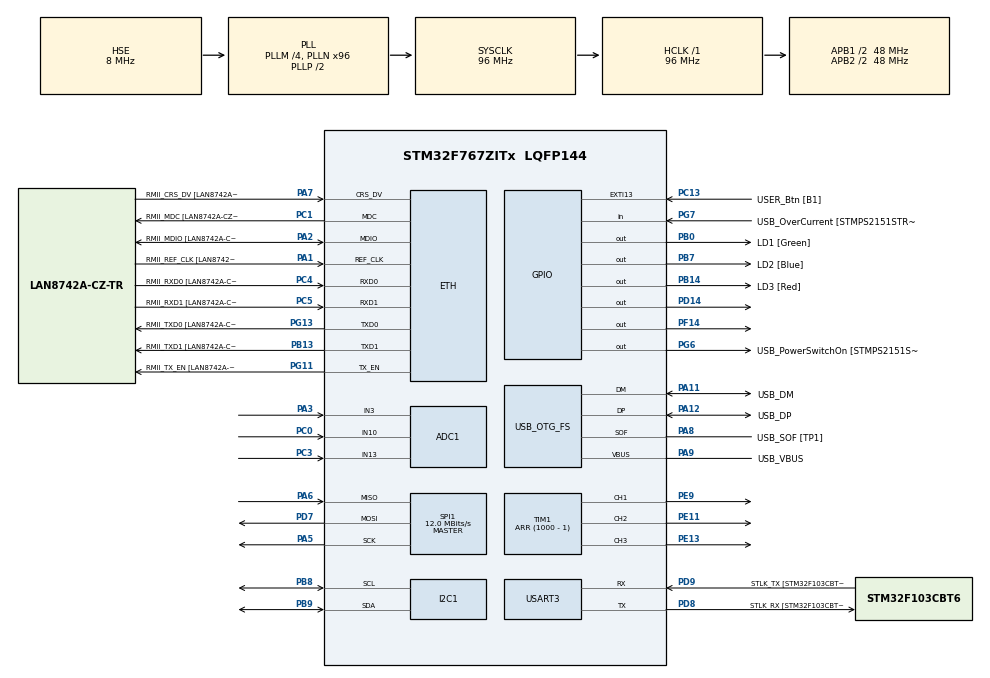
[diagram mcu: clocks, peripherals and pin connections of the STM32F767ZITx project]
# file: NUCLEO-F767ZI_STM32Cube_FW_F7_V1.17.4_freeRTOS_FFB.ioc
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ADC1.Channel-0\#ChannelRegularConversion=ADC_CHANNEL_3
ADC1.Channel-3\#ChannelRegularConversion=ADC_CHANNEL_10
ADC1.Channel-4\#ChannelRegularConversion=ADC_CHANNEL_13
ADC1.DiscontinuousConvMode=ENABLE
ADC1.NbrOfConversion=3
ADC1.NbrOfConversionFlag=1
ADC1.Rank-3\#ChannelRegularConversion=2
ADC1.Rank-4\#ChannelRegularConversion=3
ADC1.SamplingTime-0\#ChannelRegularConversion=ADC_SAMPLETIME_84CYCLES
ADC1.SamplingTime-3\#ChannelRegularConversion=ADC_SAMPLETIME_84CYCLES
ADC1.SamplingTime-4\#ChannelRegularConversion=ADC_SAMPLETIME_84CYCLES
ADC1.ScanConvMode=ADC_SCAN_ENABLE
ADC1.master=1
CORTEX_M7.default_mode_Activation=1
ETH.MediaInterface=HAL_ETH_RMII_MODE
ETH.PHY_Name=LAN8742A_PHY_ADDRESS
ETH.PHY_Value=0
ETH.PhyAddress=0
I2C1.Timing=0x20303E5D
Mcu.Family=STM32F7
Mcu.Name=STM32F767ZITx
Mcu.Package=LQFP144
NVIC.OTG_FS_IRQn=true\:5\:0\:true\:false\:true\:true\:true\:true
NVIC.PriorityGroup=NVIC_PRIORITYGROUP_4
NVIC.TIM2_IRQn=true\:6\:0\:true\:false\:true\:true\:true\:true
NVIC.TIM7_IRQn=true\:15\:0\:false\:false\:true\:false\:true\:true
NVIC.TimeBase=TIM7_IRQn
NVIC.TimeBaseIP=TIM7
NVIC.USART3_IRQn=true\:5\:0\:true\:false\:true\:true\:true\:true
PA1.GPIO_Label=RMII_REF_CLK [LAN8742A-CZ-TR_REFCLK0]
PA1.Mode=RMII
PA1.Signal=ETH_REF_CLK
PA10.GPIO_Label=USB_ID
PA10.Signal=USB_OTG_FS_ID
PA11.GPIO_Label=USB_DM
PA11.Mode=Device_Only
PA11.Signal=USB_OTG_FS_DM
PA12.GPIO_Label=USB_DP
PA12.Mode=Device_Only
PA12.Signal=USB_OTG_FS_DP
PA13.GPIO_Label=TMS
PA13.Mode=Serial_Wire
PA13.Signal=SYS_JTMS-SWDIO
PA14.GPIO_Label=TCK
PA14.Mode=Serial_Wire
PA14.Signal=SYS_JTCK-SWCLK
PA2.GPIO_Label=RMII_MDIO [LAN8742A-CZ-TR_MDIO]
PA2.Mode=RMII
PA2.Signal=ETH_MDIO
PA3.Signal=ADCx_IN3
PA5.Mode=Full_Duplex_Master
PA5.Signal=SPI1_SCK
PA6.Mode=Full_Duplex_Master
PA6.Signal=SPI1_MISO
PA7.GPIO_Label=RMII_CRS_DV [LAN8742A-CZ-TR_CRS_DV]
PA7.Mode=RMII
PA7.Signal=ETH_CRS_DV
PA8.GPIO_Label=USB_SOF [TP1]
PA8.Mode=Activate_SOF_FS
PA8.Signal=USB_OTG_FS_SOF
PA9.GPIO_Label=USB_VBUS
PA9.Mode=Activate_VBUS
PA9.Signal=USB_OTG_FS_VBUS
PB0.GPIO_Label=LD1 [Green]
PB0.Signal=GPIO_Output
PB13.GPIO_Label=RMII_TXD1 [LAN8742A-CZ-TR_TXD1]
PB13.Mode=RMII
PB13.Signal=ETH_TXD1
PB14.GPIO_Label=LD3 [Red]
PB14.Signal=GPIO_Output
PB3.GPIO_Label=SWO
PB3.Signal=SYS_JTDO-SWO
PB7.GPIO_Label=LD2 [Blue]
PB7.Signal=GPIO_Output
PB8.Mode=I2C
PB8.Signal=I2C1_SCL
PB9.Mode=I2C
PB9.Signal=I2C1_SDA
PC0.Signal=ADCx_IN10
PC1.GPIO_Label=RMII_MDC [LAN8742A-CZ-TR_MDC]
PC1.Mode=RMII
PC1.Signal=ETH_MDC
PC13.GPIO_Label=USER_Btn [B1]
PC13.Signal=GPXTI13
PC14/OSC32_IN.Mode=LSE-External-Oscillator
PC14/OSC32_IN.Signal=RCC_OSC32_IN
PC15/OSC32_OUT.Mode=LSE-External-Oscillator
PC15/OSC32_OUT.Signal=RCC_OSC32_OUT
PC3.Signal=ADCx_IN13
PC4.GPIO_Label=RMII_RXD0 [LAN8742A-CZ-TR_RXD0]
PC4.Mode=RMII
PC4.Signal=ETH_RXD0
PC5.GPIO_Label=RMII_RXD1 [LAN8742A-CZ-TR_RXD1]
PC5.Mode=RMII
PC5.Signal=ETH_RXD1
PD14.Signal=GPIO_Output
PD7.Mode=Full_Duplex_Master
PD7.Signal=SPI1_MOSI
PD8.GPIO_Label=STLK_RX [STM32F103CBT6_PA3]
PD8.Mode=Asynchronous
PD8.Signal=USART3_TX
PD9.GPIO_Label=STLK_TX [STM32F103CBT6_PA2]
PD9.Mode=Asynchronous
PD9.Signal=USART3_RX
PE11.Signal=S_TIM1_CH2
PE13.Signal=S_TIM1_CH3
PE9.Signal=S_TIM1_CH1
PF14.Signal=GPIO_Output
PG11.GPIO_Label=RMII_TX_EN [LAN8742A-CZ-TR_TXEN]
PG11.Mode=RMII
PG11.Signal=ETH_TX_EN
PG13.GPIO_Label=RMII_TXD0 [LAN8742A-CZ-TR_TXD0]
PG13.Mode=RMII
PG13.Signal=ETH_TXD0
PG6.GPIO_Label=USB_PowerSwitchOn [STMPS2151STR_EN]
PG6.Signal=GPIO_Output
PG7.GPIO_Label=USB_OverCurrent [STMPS2151STR_FAULT]
PG7.Signal=GPIO_Input
PH0/OSC_IN.GPIO_Label=MCO [STM32F103CBT6_PA8]
PH0/OSC_IN.Mode=HSE-External-Oscillator
PH0/OSC_IN.Signal=RCC_OSC_IN
PH1/OSC_OUT.Mode=HSE-External-Oscillator
PH1/OSC_OUT.Signal=RCC_OSC_OUT
ProjectManager.HeapSize=0x200
ProjectManager.StackSize=0x400
ProjectManager.TargetToolchain=CMake
RCC.48MHZClocksFreq_Value=24000000
RCC.AHBFreq_Value=96000000
RCC.APB1CLKDivider=RCC_HCLK_DIV2
RCC.APB1Freq_Value=48000000
RCC.APB1TimFreq_Value=96000000
RCC.APB2CLKDivider=RCC_HCLK_DIV2
RCC.APB2Freq_Value=48000000
RCC.APB2TimFreq_Value=96000000
RCC.CortexFreq_Value=96000000
RCC.HCLKFreq_Value=96000000
RCC.HSE_VALUE=8000000
RCC.HSI_VALUE=16000000
RCC.PLLI2SN=96
RCC.PLLM=4
RCC.PLLMUL=RCC_PLL_MUL9
RCC.PLLN=96
RCC.PLLQ=4
RCC.PLLSAIN=96
RCC.PRESCALERUSB=RCC_USBCLKSOURCE_PLL_DIV1_5
RCC.SYSCLKFreq_VALUE=96000000
RCC.SYSCLKSource=RCC_SYSCLKSOURCE_PLLCLK
RCC.SYSCLKSourceVirtual=RCC_SYSCLKSOURCE_PLLCLK
RCC.USBFreq_Value=48000000
RCC.VCOOutputFreq_Value=192000000
SH.ADCx_IN10.0=ADC1_IN10,IN10
SH.ADCx_IN13.0=ADC1_IN13,IN13
SH.ADCx_IN3.0=ADC1_IN3,IN3
SH.S_TIM1_CH1.0=TIM1_CH1,PWM Generation1 CH1
SH.S_TIM1_CH2.0=TIM1_CH2,PWM Generation2 CH2
SH.S_TIM1_CH3.0=TIM1_CH3,PWM Generation3 CH3
SPI1.BaudRatePrescaler=SPI_BAUDRATEPRESCALER_4
SPI1.CLKPhase=SPI_PHASE_2EDGE
SPI1.CalculateBaudRate=12.0 MBits/s
SPI1.DataSize=SPI_DATASIZE_8BIT
SPI1.Direction=SPI_DIRECTION_2LINES
SPI1.Mode=SPI_MODE_MASTER
SPI1.VirtualType=VM_MASTER
TIM1.AutoReloadPreload=TIM_AUTORELOAD_PRELOAD_ENABLE
TIM1.Channel-PWM\ Generation1\ CH1=TIM_CHANNEL_1
TIM1.Channel-PWM\ Generation2\ CH2=TIM_CHANNEL_2
TIM1.Channel-PWM\ Generation3\ CH3=TIM_CHANNEL_3
TIM1.CounterMode=TIM_COUNTERMODE_CENTERALIGNED3
TIM1.Period=(1000 - 1)
TIM1.Prescaler=(96000000 / 40000 / 1000 - 1)
TIM2.AutoReloadPreload=TIM_AUTORELOAD_PRELOAD_ENABLE
TIM2.Period=(FOC_LOOP_PERIOD - 1)
TIM2.Prescaler=(96000000 / 1000 / 1000 - 1)
USART3.VirtualMode-Asynchronous=VM_ASYNC
USB_OTG_FS.VirtualMode=Device_Only
VP_SYS_VS_tim7.Mode=TIM7
VP_TIM2_VS_ClockSourceINT.Mode=Internal
board=NUCLEO-F767ZI

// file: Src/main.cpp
/* USER CODE BEGIN Header */
/* USER CODE END Header */
#include "main.h"

#include "string.h"

/* USER CODE BEGIN Includes */
#include "Arduino.h"
#include "FreeRTOS.h"
#include "arduino_interface.h"
#include "task.h"
// FFB
#include "adc_loop.h"
#include "adc_setup.h"
#include "ffb_loop.h"
#include "ffb_setup.h"
#include "foc_loop.h"
#include "foc_setup.h"
#include "tusb.h"
#include "usb_loop.h"
#include "usb_setup.h"
/* USER CODE END Includes */

/* USER CODE BEGIN PTD */
// Priorities of our threads - higher numbers are higher priority
#define MAIN_TASK_PRIORITY (tskIDLE_PRIORITY + osPriorityBelowNormal)
#define BLINK_TASK_PRIORITY (tskIDLE_PRIORITY + osPriorityLow)
#define WORKER_TASK_PRIORITY (tskIDLE_PRIORITY + osPriorityNormal)
// Stack sizes of our threads in words (4 bytes)
#define MAIN_TASK_STACK_SIZE configMINIMAL_STACK_SIZE
#define BLINK_TASK_STACK_SIZE configMINIMAL_STACK_SIZE
#define WORKER_TASK_STACK_SIZE configMINIMAL_STACK_SIZE
/* USER CODE END PTD */

#if defined(__ICCARM__) /*!< IAR Compiler */
#pragma location = 0x2007c000
ETH_DMADescTypeDef DMARxDscrTab[ETH_RX_DESC_CNT]; /* Ethernet Rx DMA Descriptors */
#pragma location = 0x2007c0a0
ETH_DMADescTypeDef DMATxDscrTab[ETH_TX_DESC_CNT]; /* Ethernet Tx DMA Descriptors */

#elif defined(__CC_ARM) /* MDK ARM Compiler */

__attribute__((at(0x2007c000))) ETH_DMADescTypeDef DMARxDscrTab[ETH_RX_DESC_CNT]; /* Ethernet Rx DMA Descriptors */
__attribute__((at(0x2007c0a0))) ETH_DMADescTypeDef DMATxDscrTab[ETH_TX_DESC_CNT]; /* Ethernet Tx DMA Descriptors */

#elif defined(__GNUC__) /* GNU Compiler */

ETH_DMADescTypeDef DMARxDscrTab[ETH_RX_DESC_CNT] __attribute__((section(".RxDecripSection"))); /* Ethernet Rx DMA Descriptors */
ETH_DMADescTypeDef DMATxDscrTab[ETH_TX_DESC_CNT] __attribute__((section(".TxDecripSection"))); /* Ethernet Tx DMA Descriptors */
#endif

ETH_TxPacketConfig TxConfig;

ADC_HandleTypeDef hadc1;

ETH_HandleTypeDef heth;

I2C_HandleTypeDef hi2c1;

SPI_HandleTypeDef hspi1;

TIM_HandleTypeDef htim1;
TIM_HandleTypeDef htim2;

UART_HandleTypeDef huart3;

PCD_HandleTypeDef hpcd_USB_OTG_FS;

void SystemClock_Config(void);
static void MPU_Config(void);
static void MX_GPIO_Init(void);
static void MX_ETH_Init(void);
static void MX_I2C1_Init(void);
static void MX_SPI1_Init(void);
static void MX_TIM1_Init(void);
static void MX_USART3_UART_Init(void);
static void MX_USB_OTG_FS_PCD_Init(void);
static void MX_TIM2_Init(void);
static void MX_ADC1_Init(void);

/* USER CODE BEGIN 0 */
void blink_task(__unused void *params) {
    for (;;) {
        vTaskDelay(pdMS_TO_TICKS(blink_interval_ms_usb_status));
        HAL_GPIO_TogglePin(GPIOB, LD1_Pin);
    }
}
TaskHandle_t foc_task_handle = NULL;
void repeating_timer_callback(void) {
    BaseType_t xHigherPriorityTaskWoken = pdFALSE;
    vTaskNotifyGiveFromISR(foc_task_handle, &xHigherPriorityTaskWoken);
    portYIELD_FROM_ISR(xHigherPriorityTaskWoken);
}
void foc_task(__unused void *params) {
    foc_setup();
    for (;;) {
        ulTaskNotifyTake(pdTRUE, portMAX_DELAY);
        foc_loop();
    }
}
void usb_task(__unused void *params) {
    usb_setup();
    for (;;) {
        // put this thread to waiting state until there is new events
        tud_task();
        // following code only run if tud_task() process at least 1 event
        usb_loop();
    }
}
void ffb_task(__unused void *params) {
    TickType_t last = xTaskGetTickCount();
    for (;;) {
        vTaskDelayUntil(&last, pdMS_TO_TICKS(USB_POLLING_INTERVAL));
    }
}
extern "C" size_t board_get_unique_id(uint8_t id[], size_t max_len) {
    (void)max_len;
    volatile uint32_t *stm32_uuid = (volatile uint32_t *)UID_BASE;
    uint32_t *id32 = (uint32_t *)(uintptr_t)id;
    const uint8_t len = 12;
    id32[0] = stm32_uuid[0];
    id32[1] = stm32_uuid[1];
    id32[2] = stm32_uuid[2];
    return len;
}
void adc_task(__unused void *params) {
    adc_setup();
    TickType_t last = xTaskGetTickCount();
    for (;;) {
        vTaskDelayUntil(&last, pdMS_TO_TICKS(ADC_READ_INTERVAL));
        adc_loop();
    }
}
/* USER CODE END 0 */

int main(void) {

    /* MPU Configuration--------------------------------------------------------*/
    MPU_Config();

    /* MCU Configuration--------------------------------------------------------*/

    /* Reset of all peripherals, Initializes the Flash interface and the Systick. */
    HAL_Init();

    /* Configure the system clock */
    SystemClock_Config();

    /* Initialize all configured peripherals */
    MX_GPIO_Init();
    MX_ETH_Init();
    MX_I2C1_Init();
    MX_SPI1_Init();
    MX_TIM1_Init();
    MX_USART3_UART_Init();
    MX_USB_OTG_FS_PCD_Init();
    MX_TIM2_Init();
    MX_ADC1_Init();
    /* USER CODE BEGIN 2 */
    arduino_serial_init(&huart3);
    arduino_spi_init(&hspi1);
    arduino_tim_init(&htim1, TIM_CHANNEL_1, TIM_CHANNEL_2, TIM_CHANNEL_3);
    arduino_hi2c_init(&hi2c1);
    arduino_hadc_init(&hadc1);
    /* USER CODE END 2 */

    /* Infinite loop */
    /* USER CODE BEGIN WHILE */
    xTaskCreate(blink_task, "blink_task", BLINK_TASK_STACK_SIZE, NULL, BLINK_TASK_PRIORITY, NULL);
    xTaskCreate(foc_task, "foc_task", WORKER_TASK_STACK_SIZE, NULL, WORKER_TASK_PRIORITY, &foc_task_handle);
    xTaskCreate(usb_task, "usb_task", WORKER_TASK_STACK_SIZE, NULL, WORKER_TASK_PRIORITY, NULL);
    xTaskCreate(ffb_task, "ffb_task", WORKER_TASK_STACK_SIZE, NULL, WORKER_TASK_PRIORITY, NULL);
    xTaskCreate(adc_task, "adc_task", WORKER_TASK_STACK_SIZE, NULL, WORKER_TASK_PRIORITY, NULL);
    HAL_TIM_Base_Start_IT(&htim2);
    vTaskStartScheduler();
    while (1) {
        /* USER CODE END WHILE */

    }
}

void SystemClock_Config(void) {
    RCC_OscInitTypeDef RCC_OscInitStruct = {0};
    RCC_ClkInitTypeDef RCC_ClkInitStruct = {0};

    /** Configure LSE Drive Capability
     */
    HAL_PWR_EnableBkUpAccess();

    /** Configure the main internal regulator output voltage
     */
    __HAL_RCC_PWR_CLK_ENABLE();
    __HAL_PWR_VOLTAGESCALING_CONFIG(PWR_REGULATOR_VOLTAGE_SCALE3);

    /** Initializes the RCC Oscillators according to the specified parameters
     * in the RCC_OscInitTypeDef structure.
     */
    RCC_OscInitStruct.OscillatorType = RCC_OSCILLATORTYPE_HSE;
    RCC_OscInitStruct.HSEState = RCC_HSE_ON;
    RCC_OscInitStruct.PLL.PLLState = RCC_PLL_ON;
    RCC_OscInitStruct.PLL.PLLSource = RCC_PLLSOURCE_HSE;
    RCC_OscInitStruct.PLL.PLLM = 4;
    RCC_OscInitStruct.PLL.PLLN = 96;
    RCC_OscInitStruct.PLL.PLLP = RCC_PLLP_DIV2;
    RCC_OscInitStruct.PLL.PLLQ = 4;
    RCC_OscInitStruct.PLL.PLLR = 2;
    if (HAL_RCC_OscConfig(&RCC_OscInitStruct) != HAL_OK) {
        Error_Handler();
    }

    /** Activate the Over-Drive mode
     */
    if (HAL_PWREx_EnableOverDrive() != HAL_OK) {
        Error_Handler();
    }

    /** Initializes the CPU, AHB and APB buses clocks
     */
    RCC_ClkInitStruct.ClockType = RCC_CLOCKTYPE_HCLK | RCC_CLOCKTYPE_SYSCLK | RCC_CLOCKTYPE_PCLK1 | RCC_CLOCKTYPE_PCLK2;
    RCC_ClkInitStruct.SYSCLKSource = RCC_SYSCLKSOURCE_PLLCLK;
    RCC_ClkInitStruct.AHBCLKDivider = RCC_SYSCLK_DIV1;
    RCC_ClkInitStruct.APB1CLKDivider = RCC_HCLK_DIV2;
    RCC_ClkInitStruct.APB2CLKDivider = RCC_HCLK_DIV2;

    if (HAL_RCC_ClockConfig(&RCC_ClkInitStruct, FLASH_LATENCY_3) != HAL_OK) {
        Error_Handler();
    }
}

static void MX_ADC1_Init(void) {

    ADC_ChannelConfTypeDef sConfig = {0};

    /** Configure the global features of the ADC (Clock, Resolution, Data Alignment and number of conversion)
     */
    hadc1.Instance = ADC1;
    hadc1.Init.ClockPrescaler = ADC_CLOCK_SYNC_PCLK_DIV2;
    hadc1.Init.Resolution = ADC_RESOLUTION_12B;
    hadc1.Init.ScanConvMode = ADC_SCAN_ENABLE;
    hadc1.Init.ContinuousConvMode = DISABLE;
    hadc1.Init.DiscontinuousConvMode = ENABLE;
    hadc1.Init.NbrOfDiscConversion = 1;
    hadc1.Init.ExternalTrigConvEdge = ADC_EXTERNALTRIGCONVEDGE_NONE;
    hadc1.Init.ExternalTrigConv = ADC_SOFTWARE_START;
    hadc1.Init.DataAlign = ADC_DATAALIGN_RIGHT;
    hadc1.Init.NbrOfConversion = 3;
    hadc1.Init.DMAContinuousRequests = DISABLE;
    hadc1.Init.EOCSelection = ADC_EOC_SINGLE_CONV;
    if (HAL_ADC_Init(&hadc1) != HAL_OK) {
        Error_Handler();
    }

    /** Configure for the selected ADC regular channel its corresponding rank in the sequencer and its sample time.
     */
    sConfig.Channel = ADC_CHANNEL_3;
    sConfig.Rank = ADC_REGULAR_RANK_1;
    sConfig.SamplingTime = ADC_SAMPLETIME_84CYCLES;
    if (HAL_ADC_ConfigChannel(&hadc1, &sConfig) != HAL_OK) {
        Error_Handler();
    }

    /** Configure for the selected ADC regular channel its corresponding rank in the sequencer and its sample time.
     */
    sConfig.Channel = ADC_CHANNEL_10;
    sConfig.Rank = ADC_REGULAR_RANK_2;
    if (HAL_ADC_ConfigChannel(&hadc1, &sConfig) != HAL_OK) {
        Error_Handler();
    }

    /** Configure for the selected ADC regular channel its corresponding rank in the sequencer and its sample time.
     */
    sConfig.Channel = ADC_CHANNEL_13;
    sConfig.Rank = ADC_REGULAR_RANK_3;
    if (HAL_ADC_ConfigChannel(&hadc1, &sConfig) != HAL_OK) {
        Error_Handler();
    }
}

static void MX_ETH_Init(void) {

    static uint8_t MACAddr[6];

    heth.Instance = ETH;
    MACAddr[0] = 0x00;
    MACAddr[1] = 0x80;
    MACAddr[2] = 0xE1;
    MACAddr[3] = 0x00;
    MACAddr[4] = 0x00;
    MACAddr[5] = 0x00;
    heth.Init.MACAddr = &MACAddr[0];
    heth.Init.MediaInterface = HAL_ETH_RMII_MODE;
    heth.Init.TxDesc = DMATxDscrTab;
    heth.Init.RxDesc = DMARxDscrTab;
    heth.Init.RxBuffLen = 1524;

    if (HAL_ETH_Init(&heth) != HAL_OK) {
        Error_Handler();
    }

    memset(&TxConfig, 0, sizeof(ETH_TxPacketConfig));
    TxConfig.Attributes = ETH_TX_PACKETS_FEATURES_CSUM | ETH_TX_PACKETS_FEATURES_CRCPAD;
    TxConfig.ChecksumCtrl = ETH_CHECKSUM_IPHDR_PAYLOAD_INSERT_PHDR_CALC;
    TxConfig.CRCPadCtrl = ETH_CRC_PAD_INSERT;
}

static void MX_I2C1_Init(void) {

    hi2c1.Instance = I2C1;
    hi2c1.Init.Timing = 0x20303E5D;
    hi2c1.Init.OwnAddress1 = 0;
    hi2c1.Init.AddressingMode = I2C_ADDRESSINGMODE_7BIT;
    hi2c1.Init.DualAddressMode = I2C_DUALADDRESS_DISABLE;
    hi2c1.Init.OwnAddress2 = 0;
    hi2c1.Init.OwnAddress2Masks = I2C_OA2_NOMASK;
    hi2c1.Init.GeneralCallMode = I2C_GENERALCALL_DISABLE;
    hi2c1.Init.NoStretchMode = I2C_NOSTRETCH_DISABLE;
    if (HAL_I2C_Init(&hi2c1) != HAL_OK) {
        Error_Handler();
    }

    /** Configure Analogue filter
     */
    if (HAL_I2CEx_ConfigAnalogFilter(&hi2c1, I2C_ANALOGFILTER_ENABLE) != HAL_OK) {
        Error_Handler();
    }

    /** Configure Digital filter
     */
    if (HAL_I2CEx_ConfigDigitalFilter(&hi2c1, 0) != HAL_OK) {
        Error_Handler();
    }
}

static void MX_SPI1_Init(void) {

    /* SPI1 parameter configuration*/
    hspi1.Instance = SPI1;
    hspi1.Init.Mode = SPI_MODE_MASTER;
    hspi1.Init.Direction = SPI_DIRECTION_2LINES;
    hspi1.Init.DataSize = SPI_DATASIZE_8BIT;
    hspi1.Init.CLKPolarity = SPI_POLARITY_LOW;
    hspi1.Init.CLKPhase = SPI_PHASE_2EDGE;
    hspi1.Init.NSS = SPI_NSS_SOFT;
    hspi1.Init.BaudRatePrescaler = SPI_BAUDRATEPRESCALER_4;
    hspi1.Init.FirstBit = SPI_FIRSTBIT_MSB;
    hspi1.Init.TIMode = SPI_TIMODE_DISABLE;
    hspi1.Init.CRCCalculation = SPI_CRCCALCULATION_DISABLE;
    hspi1.Init.CRCPolynomial = 7;
    hspi1.Init.CRCLength = SPI_CRC_LENGTH_DATASIZE;
    hspi1.Init.NSSPMode = SPI_NSS_PULSE_DISABLE;
    if (HAL_SPI_Init(&hspi1) != HAL_OK) {
        Error_Handler();
    }
}

static void MX_TIM1_Init(void) {

    TIM_MasterConfigTypeDef sMasterConfig = {0};
    TIM_OC_InitTypeDef sConfigOC = {0};
    TIM_BreakDeadTimeConfigTypeDef sBreakDeadTimeConfig = {0};

    htim1.Instance = TIM1;
    htim1.Init.Prescaler = (96000000 / 40000 / 1000 - 1);
    htim1.Init.CounterMode = TIM_COUNTERMODE_CENTERALIGNED3;
    htim1.Init.Period = (1000 - 1);
    htim1.Init.ClockDivision = TIM_CLOCKDIVISION_DIV1;
    htim1.Init.RepetitionCounter = 0;
    htim1.Init.AutoReloadPreload = TIM_AUTORELOAD_PRELOAD_ENABLE;
    if (HAL_TIM_PWM_Init(&htim1) != HAL_OK) {
        Error_Handler();
    }
    sMasterConfig.MasterOutputTrigger = TIM_TRGO_RESET;
    sMasterConfig.MasterOutputTrigger2 = TIM_TRGO2_RESET;
    sMasterConfig.MasterSlaveMode = TIM_MASTERSLAVEMODE_DISABLE;
    if (HAL_TIMEx_MasterConfigSynchronization(&htim1, &sMasterConfig) != HAL_OK) {
        Error_Handler();
    }
    sConfigOC.OCMode = TIM_OCMODE_PWM1;
    sConfigOC.Pulse = 0;
    sConfigOC.OCPolarity = TIM_OCPOLARITY_HIGH;
    sConfigOC.OCNPolarity = TIM_OCNPOLARITY_HIGH;
    sConfigOC.OCFastMode = TIM_OCFAST_DISABLE;
    sConfigOC.OCIdleState = TIM_OCIDLESTATE_RESET;
    sConfigOC.OCNIdleState = TIM_OCNIDLESTATE_RESET;
    if (HAL_TIM_PWM_ConfigChannel(&htim1, &sConfigOC, TIM_CHANNEL_1) != HAL_OK) {
        Error_Handler();
    }
    if (HAL_TIM_PWM_ConfigChannel(&htim1, &sConfigOC, TIM_CHANNEL_2) != HAL_OK) {
        Error_Handler();
    }
    if (HAL_TIM_PWM_ConfigChannel(&htim1, &sConfigOC, TIM_CHANNEL_3) != HAL_OK) {
        Error_Handler();
    }
    sBreakDeadTimeConfig.OffStateRunMode = TIM_OSSR_DISABLE;
    sBreakDeadTimeConfig.OffStateIDLEMode = TIM_OSSI_DISABLE;
    sBreakDeadTimeConfig.LockLevel = TIM_LOCKLEVEL_OFF;
    sBreakDeadTimeConfig.DeadTime = 0;
    sBreakDeadTimeConfig.BreakState = TIM_BREAK_DISABLE;
    sBreakDeadTimeConfig.BreakPolarity = TIM_BREAKPOLARITY_HIGH;
    sBreakDeadTimeConfig.BreakFilter = 0;
    sBreakDeadTimeConfig.Break2State = TIM_BREAK2_DISABLE;
    sBreakDeadTimeConfig.Break2Polarity = TIM_BREAK2POLARITY_HIGH;
    sBreakDeadTimeConfig.Break2Filter = 0;
    sBreakDeadTimeConfig.AutomaticOutput = TIM_AUTOMATICOUTPUT_DISABLE;
    if (HAL_TIMEx_ConfigBreakDeadTime(&htim1, &sBreakDeadTimeConfig) != HAL_OK) {
        Error_Handler();
    }
    HAL_TIM_MspPostInit(&htim1);
}

static void MX_TIM2_Init(void) {

    TIM_ClockConfigTypeDef sClockSourceConfig = {0};
    TIM_MasterConfigTypeDef sMasterConfig = {0};

    htim2.Instance = TIM2;
    htim2.Init.Prescaler = (96000000 / 1000 / 1000 - 1);
    htim2.Init.CounterMode = TIM_COUNTERMODE_UP;
    htim2.Init.Period = (FOC_LOOP_PERIOD - 1);
    htim2.Init.ClockDivision = TIM_CLOCKDIVISION_DIV1;
    htim2.Init.AutoReloadPreload = TIM_AUTORELOAD_PRELOAD_ENABLE;
    if (HAL_TIM_Base_Init(&htim2) != HAL_OK) {
        Error_Handler();
    }
    sClockSourceConfig.ClockSource = TIM_CLOCKSOURCE_INTERNAL;
    if (HAL_TIM_ConfigClockSource(&htim2, &sClockSourceConfig) != HAL_OK) {
        Error_Handler();
    }
    sMasterConfig.MasterOutputTrigger = TIM_TRGO_RESET;
    sMasterConfig.MasterSlaveMode = TIM_MASTERSLAVEMODE_DISABLE;
    if (HAL_TIMEx_MasterConfigSynchronization(&htim2, &sMasterConfig) != HAL_OK) {
        Error_Handler();
    }
}

static void MX_USART3_UART_Init(void) {

    huart3.Instance = USART3;
    huart3.Init.BaudRate = 115200;
    huart3.Init.WordLength = UART_WORDLENGTH_8B;
    huart3.Init.StopBits = UART_STOPBITS_1;
    huart3.Init.Parity = UART_PARITY_NONE;
    huart3.Init.Mode = UART_MODE_TX_RX;
    huart3.Init.HwFlowCtl = UART_HWCONTROL_NONE;
    huart3.Init.OverSampling = UART_OVERSAMPLING_16;
    huart3.Init.OneBitSampling = UART_ONE_BIT_SAMPLE_DISABLE;
    huart3.AdvancedInit.AdvFeatureInit = UART_ADVFEATURE_NO_INIT;
    if (HAL_UART_Init(&huart3) != HAL_OK) {
        Error_Handler();
    }
}

static void MX_USB_OTG_FS_PCD_Init(void) {

    hpcd_USB_OTG_FS.Instance = USB_OTG_FS;
    hpcd_USB_OTG_FS.Init.dev_endpoints = 6;
    hpcd_USB_OTG_FS.Init.speed = PCD_SPEED_FULL;
    hpcd_USB_OTG_FS.Init.dma_enable = DISABLE;
    hpcd_USB_OTG_FS.Init.phy_itface = PCD_PHY_EMBEDDED;
    hpcd_USB_OTG_FS.Init.Sof_enable = ENABLE;
    hpcd_USB_OTG_FS.Init.low_power_enable = DISABLE;
    hpcd_USB_OTG_FS.Init.lpm_enable = DISABLE;
    hpcd_USB_OTG_FS.Init.vbus_sensing_enable = ENABLE;
    hpcd_USB_OTG_FS.Init.use_dedicated_ep1 = DISABLE;
    if (HAL_PCD_Init(&hpcd_USB_OTG_FS) != HAL_OK) {
        Error_Handler();
    }
}

static void MX_GPIO_Init(void) {
    GPIO_InitTypeDef GPIO_InitStruct = {0};

    /* GPIO Ports Clock Enable */
    __HAL_RCC_GPIOC_CLK_ENABLE();
    __HAL_RCC_GPIOH_CLK_ENABLE();
    __HAL_RCC_GPIOA_CLK_ENABLE();
    __HAL_RCC_GPIOB_CLK_ENABLE();
    __HAL_RCC_GPIOF_CLK_ENABLE();
    __HAL_RCC_GPIOE_CLK_ENABLE();
    __HAL_RCC_GPIOD_CLK_ENABLE();
    __HAL_RCC_GPIOG_CLK_ENABLE();

    /*Configure GPIO pin Output Level */
    HAL_GPIO_WritePin(GPIOB, LD1_Pin | LD3_Pin | LD2_Pin, GPIO_PIN_RESET);

    /*Configure GPIO pin Output Level */
    HAL_GPIO_WritePin(GPIOF, GPIO_PIN_14, GPIO_PIN_RESET);

    /*Configure GPIO pin Output Level */
    HAL_GPIO_WritePin(GPIOD, GPIO_PIN_14, GPIO_PIN_RESET);

    /*Configure GPIO pin Output Level */
    HAL_GPIO_WritePin(USB_PowerSwitchOn_GPIO_Port, USB_PowerSwitchOn_Pin, GPIO_PIN_RESET);

    /*Configure GPIO pin : USER_Btn_Pin */
    GPIO_InitStruct.Pin = USER_Btn_Pin;
    GPIO_InitStruct.Mode = GPIO_MODE_IT_RISING;
    GPIO_InitStruct.Pull = GPIO_NOPULL;
    HAL_GPIO_Init(USER_Btn_GPIO_Port, &GPIO_InitStruct);

    /*Configure GPIO pins : LD1_Pin LD3_Pin LD2_Pin */
    GPIO_InitStruct.Pin = LD1_Pin | LD3_Pin | LD2_Pin;
    GPIO_InitStruct.Mode = GPIO_MODE_OUTPUT_PP;
    GPIO_InitStruct.Pull = GPIO_NOPULL;
    GPIO_InitStruct.Speed = GPIO_SPEED_FREQ_LOW;
    HAL_GPIO_Init(GPIOB, &GPIO_InitStruct);

    /*Configure GPIO pin : PF14 */
    GPIO_InitStruct.Pin = GPIO_PIN_14;
    GPIO_InitStruct.Mode = GPIO_MODE_OUTPUT_PP;
    GPIO_InitStruct.Pull = GPIO_NOPULL;
    GPIO_InitStruct.Speed = GPIO_SPEED_FREQ_LOW;
    HAL_GPIO_Init(GPIOF, &GPIO_InitStruct);

    /*Configure GPIO pin : PD14 */
    GPIO_InitStruct.Pin = GPIO_PIN_14;
    GPIO_InitStruct.Mode = GPIO_MODE_OUTPUT_PP;
    GPIO_InitStruct.Pull = GPIO_NOPULL;
    GPIO_InitStruct.Speed = GPIO_SPEED_FREQ_LOW;
    HAL_GPIO_Init(GPIOD, &GPIO_InitStruct);

    /*Configure GPIO pin : USB_PowerSwitchOn_Pin */
    GPIO_InitStruct.Pin = USB_PowerSwitchOn_Pin;
    GPIO_InitStruct.Mode = GPIO_MODE_OUTPUT_PP;
    GPIO_InitStruct.Pull = GPIO_NOPULL;
    GPIO_InitStruct.Speed = GPIO_SPEED_FREQ_LOW;
    HAL_GPIO_Init(USB_PowerSwitchOn_GPIO_Port, &GPIO_InitStruct);

    /*Configure GPIO pin : USB_OverCurrent_Pin */
    GPIO_InitStruct.Pin = USB_OverCurrent_Pin;
    GPIO_InitStruct.Mode = GPIO_MODE_INPUT;
    GPIO_InitStruct.Pull = GPIO_NOPULL;
    HAL_GPIO_Init(USB_OverCurrent_GPIO_Port, &GPIO_InitStruct);

}

/* MPU Configuration */

void MPU_Config(void) {
    MPU_Region_InitTypeDef MPU_InitStruct = {0};

    /* Disables the MPU */
    HAL_MPU_Disable();

    /** Initializes and configures the Region and the memory to be protected
     */
    MPU_InitStruct.Enable = MPU_REGION_ENABLE;
    MPU_InitStruct.Number = MPU_REGION_NUMBER0;
    MPU_InitStruct.BaseAddress = 0x0;
    MPU_InitStruct.Size = MPU_REGION_SIZE_4GB;
    MPU_InitStruct.SubRegionDisable = 0x87;
    MPU_InitStruct.TypeExtField = MPU_TEX_LEVEL0;
    MPU_InitStruct.AccessPermission = MPU_REGION_NO_ACCESS;
    MPU_InitStruct.DisableExec = MPU_INSTRUCTION_ACCESS_DISABLE;
    MPU_InitStruct.IsShareable = MPU_ACCESS_SHAREABLE;
    MPU_InitStruct.IsCacheable = MPU_ACCESS_NOT_CACHEABLE;
    MPU_InitStruct.IsBufferable = MPU_ACCESS_NOT_BUFFERABLE;

    HAL_MPU_ConfigRegion(&MPU_InitStruct);
    /* Enables the MPU */
    HAL_MPU_Enable(MPU_PRIVILEGED_DEFAULT);
}

void HAL_TIM_PeriodElapsedCallback(TIM_HandleTypeDef *htim) {
    if (htim->Instance == TIM7) {
        HAL_IncTick();
    }
    /* USER CODE BEGIN Callback 1 */
    if (htim->Instance == TIM2) {
        repeating_timer_callback();
    }
    /* USER CODE END Callback 1 */
}

void Error_Handler(void) {
}

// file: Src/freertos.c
#include "FreeRTOS.h"

#ifndef __WEAK
#define __WEAK __attribute__((weak))
#endif

/*---------------------------------------------------------------------------*/
#if (configSUPPORT_STATIC_ALLOCATION == 1)
/*
  vApplicationGetIdleTaskMemory gets called when configSUPPORT_STATIC_ALLOCATION
  equals to 1 and is required for static memory allocation support.
*/
__WEAK void vApplicationGetIdleTaskMemory(StaticTask_t **ppxIdleTaskTCBBuffer, StackType_t **ppxIdleTaskStackBuffer, uint32_t *pulIdleTaskStackSize) {
    /* Idle task control block and stack */
    static StaticTask_t Idle_TCB;
    static StackType_t Idle_Stack[configMINIMAL_STACK_SIZE];

    *ppxIdleTaskTCBBuffer = &Idle_TCB;
    *ppxIdleTaskStackBuffer = &Idle_Stack[0];
    *pulIdleTaskStackSize = (uint32_t)configMINIMAL_STACK_SIZE;
}

/*
  vApplicationGetTimerTaskMemory gets called when configSUPPORT_STATIC_ALLOCATION
  equals to 1 and is required for static memory allocation support.
*/
__WEAK void vApplicationGetTimerTaskMemory(StaticTask_t **ppxTimerTaskTCBBuffer, StackType_t **ppxTimerTaskStackBuffer, uint32_t *pulTimerTaskStackSize) {
    /* Timer task control block and stack */
    static StaticTask_t Timer_TCB;
    static StackType_t Timer_Stack[configTIMER_TASK_STACK_DEPTH];

    *ppxTimerTaskTCBBuffer = &Timer_TCB;
    *ppxTimerTaskStackBuffer = &Timer_Stack[0];
    *pulTimerTaskStackSize = (uint32_t)configTIMER_TASK_STACK_DEPTH;
}
#endif
